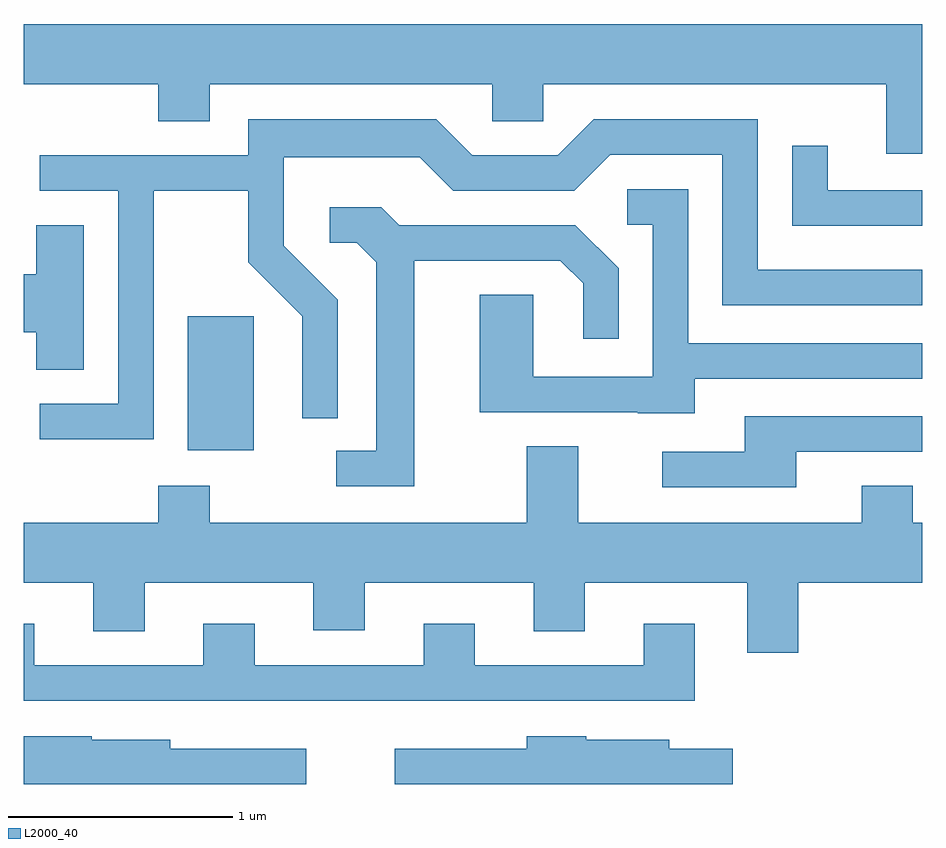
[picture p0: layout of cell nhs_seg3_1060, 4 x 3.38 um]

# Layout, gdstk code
import gdstk
lib = gdstk.Library(unit=1e-6, precision=1e-09)
def R(c, l, rs):  # rectangles x0, y0, x1, y1
    for r in rs: c.add(gdstk.rectangle(r[:2], r[2:], *l))
def P(c, l, *ps):  # polygons
    for p in ps: c.add(gdstk.Polygon(p, *l))
L2000_40 = (2000, 40)

nhs_seg3_1060 = lib.new_cell('nhs_seg3_1060')
R(nhs_seg3_1060, L2000_40, [(216.341,1197.646,216.634,1198.244)])
P(nhs_seg3_1060, L2000_40, [(219.611,1199.544),(215.611,1199.544),(215.611,1199.276),(216.211,1199.276),(216.211,1199.111),(216.439,1199.111),(216.439,1199.276),(217.696,1199.276),(217.696,1199.111),(217.924,1199.111),(217.924,1199.276),(219.451,1199.276),(219.451,1198.966),(219.611,1198.966)],
  [(216.189,1198.801),(216.611,1198.801),(216.611,1198.484),(216.851,1198.244),(216.851,1197.788),(217.009,1197.788),(217.009,1198.317),(216.769,1198.557),(216.769,1198.951),(217.374,1198.951),(217.524,1198.801),(218.062,1198.801),(218.222,1198.961),(218.721,1198.961),(218.721,1198.291),(219.611,1198.291),(219.611,1198.449),(218.879,1198.449),(218.879,1199.119),(218.149,1199.119),(217.989,1198.959),(217.607,1198.959),(217.447,1199.119),(216.611,1199.119),(216.611,1198.959),(215.683,1198.959),(215.683,1198.801),(216.031,1198.801),(216.031,1197.854),(215.683,1197.854),(215.683,1197.696),(216.189,1197.696)],
  [(219.611,1198.804),(219.189,1198.804),(219.189,1199.003),(219.031,1199.003),(219.031,1198.646),(219.611,1198.646)],
  [(218.599,1197.966),(219.611,1197.966),(219.611,1198.124),(218.569,1198.124),(218.569,1198.809),(218.298,1198.809),(218.298,1198.651),(218.411,1198.651),(218.411,1197.974),(217.879,1197.974),(217.879,1198.339),(217.641,1198.339),(217.641,1197.816),(218.345,1197.816),(218.345,1197.811),(218.599,1197.811)],
  [(217.349,1198.491),(217.999,1198.491),(218.101,1198.389),(218.101,1198.143),(218.259,1198.143),(218.259,1198.457),(218.067,1198.649),(217.282,1198.649),(217.202,1198.729),(216.973,1198.729),(216.973,1198.571),(217.094,1198.571),(217.181,1198.484),(217.181,1197.644),(217.003,1197.644),(217.003,1197.486),(217.349,1197.486)],
  [(215.879,1198.649),(215.666,1198.649),(215.666,1198.429),(215.611,1198.429),(215.611,1198.171),(215.666,1198.171),(215.666,1198.006),(215.879,1198.006)],
  [(219.049,1197.641),(219.611,1197.641),(219.611,1197.799),(218.821,1197.799),(218.821,1197.639),(218.453,1197.639),(218.453,1197.481),(219.049,1197.481)],
  [(217.851,1197.324),(216.439,1197.324),(216.439,1197.489),(216.211,1197.489),(216.211,1197.324),(215.611,1197.324),(215.611,1197.056),(215.921,1197.056),(215.921,1196.841),(216.149,1196.841),(216.149,1197.056),(216.901,1197.056),(216.901,1196.846),(217.129,1196.846),(217.129,1197.056),(217.881,1197.056),(217.881,1196.841),(218.109,1196.841),(218.109,1197.056),(218.831,1197.056),(218.831,1196.746),(219.059,1196.746),(219.059,1197.056),(219.611,1197.056),(219.611,1197.324),(219.569,1197.324),(219.569,1197.489),(219.341,1197.489),(219.341,1197.324),(218.079,1197.324),(218.079,1197.664),(217.851,1197.664)],
  [(218.599,1196.874),(218.371,1196.874),(218.371,1196.689),(217.619,1196.689),(217.619,1196.874),(217.391,1196.874),(217.391,1196.689),(216.639,1196.689),(216.639,1196.874),(216.411,1196.874),(216.411,1196.689),(215.659,1196.689),(215.659,1196.874),(215.611,1196.874),(215.611,1196.531),(218.599,1196.531)],
  [(216.868,1196.319),(216.264,1196.319),(216.264,1196.359),(215.915,1196.359),(215.915,1196.374),(215.611,1196.374),(215.611,1196.161),(216.868,1196.161)],
  [(218.768,1196.319),(218.484,1196.319),(218.484,1196.359),(218.115,1196.359),(218.115,1196.374),(217.851,1196.374),(217.851,1196.319),(217.263,1196.319),(217.263,1196.161),(218.768,1196.161)])

lib.write_gds('nhs_seg3_1060.gds')
